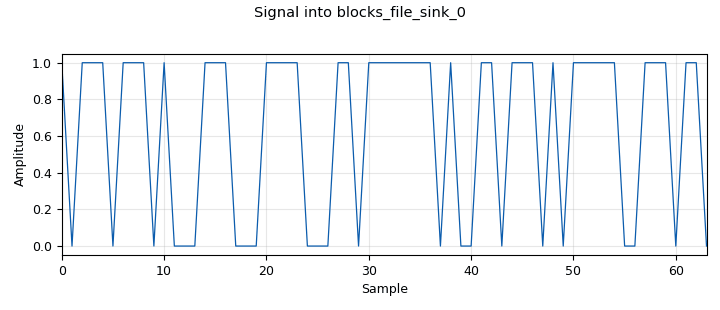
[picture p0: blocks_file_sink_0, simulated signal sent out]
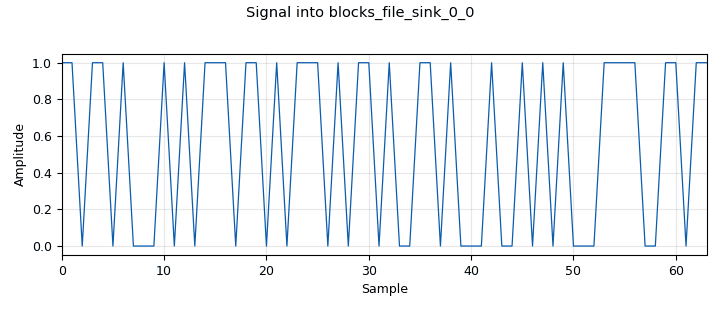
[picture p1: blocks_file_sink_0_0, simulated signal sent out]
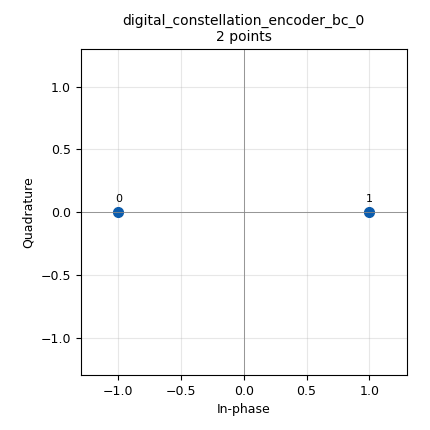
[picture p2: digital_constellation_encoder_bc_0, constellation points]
options:
  parameters:
    generate_options: qt_gui
    id: teste
    output_language: python
    title: Teste2
  states: {}

blocks:
- name: PC_dec
  id: variable_polar_decoder_sc_def
  parameters:
    block_size: '16'
    frozen_bit_positions: '[0,1,2,3,4,5,8,9]'
    frozen_bit_values: '[0,0,0,0,0,0,0,0]'
    ndim: '0'
    num_info_bits: '8'
  states: {}
- name: PC_enc
  id: variable_polar_encoder_def
  parameters:
    block_size: '16'
    frozen_bit_positions: '[0,1,2,3,4,5,8,9]'
    frozen_bit_values: '[0,0,0,0,0,0,0,0]'
    is_packed: 'False'
    ndim: '0'
    num_info_bits: '8'
  states: {}
- name: bpsk
  id: variable_constellation
  parameters:
    const_points: '[-1,1]'
    dims: '1'
    normalization: digital.constellation.AMPLITUDE_NORMALIZATION
    precision: '8'
    rot_sym: '4'
    sym_map: '[0, 1]'
    type: calcdist
  states: {}
- name: freq
  id: variable
  parameters:
    value: 93.7e6
  states: {}
- name: samp_rate
  id: variable
  parameters:
    value: '32000'
  states: {}
- name: sps
  id: variable
  parameters:
    value: '50'
  states: {}
- name: analog_random_source_x_0
  id: analog_random_source_x
  parameters:
    max: '2'
    min: '0'
    num_samps: '100000'
    repeat: 'True'
    type: byte
  states: {}
- name: blocks_file_sink_0
  id: blocks_file_sink
  parameters:
    file: saida
    type: byte
  states: {}
- name: blocks_file_sink_0_0
  id: blocks_file_sink
  parameters:
    file: entrada
    type: byte
  states: {}
- name: blocks_stream_to_tagged_stream_0
  id: blocks_stream_to_tagged_stream
  parameters:
    len_tag_key: '"packet_len"'
    packet_len: '8'
    type: byte
  states: {}
- name: channels_channel_model_0
  id: channels_channel_model
  parameters:
    epsilon: '1.0'
    freq_offset: '100e-6'
    noise_voltage: '100e-3'
    seed: '0'
    taps: '1.0'
  states: {}
- name: digital_constellation_encoder_bc_0
  id: digital_constellation_encoder_bc
  parameters:
    constellation: bpsk
  states: {}
- name: digital_constellation_soft_decoder_cf_0
  id: digital_constellation_soft_decoder_cf
  parameters:
    constellation: bpsk
    npwr: '-1'
  states: {}
- name: fec_extended_tagged_decoder_0
  id: fec_extended_tagged_decoder
  parameters:
    decoder_list: PC_dec
    lentagname: packet_len
    mtu: '1500'
    puncpat: '''11'''
  states: {}
- name: fec_extended_tagged_encoder_0
  id: fec_extended_tagged_encoder
  parameters:
    encoder_list: PC_enc
    lentagname: packet_len
    mtu: '1500'
    puncpat: '''11'''
  states: {}
- name: import_0
  id: import
  parameters:
    imports: import numpy as np
  states: {}

connections:
- [analog_random_source_x_0, '0', blocks_file_sink_0_0, '0']
- [analog_random_source_x_0, '0', blocks_stream_to_tagged_stream_0, '0']
- [blocks_stream_to_tagged_stream_0, '0', fec_extended_tagged_encoder_0, '0']
- [channels_channel_model_0, '0', digital_constellation_soft_decoder_cf_0, '0']
- [digital_constellation_encoder_bc_0, '0', channels_channel_model_0, '0']
- [digital_constellation_soft_decoder_cf_0, '0', fec_extended_tagged_decoder_0, '0']
- [fec_extended_tagged_decoder_0, '0', blocks_file_sink_0, '0']
- [fec_extended_tagged_encoder_0, '0', digital_constellation_encoder_bc_0, '0']

metadata:
  file_format: 1
  grc_version: 3.10.9.2
